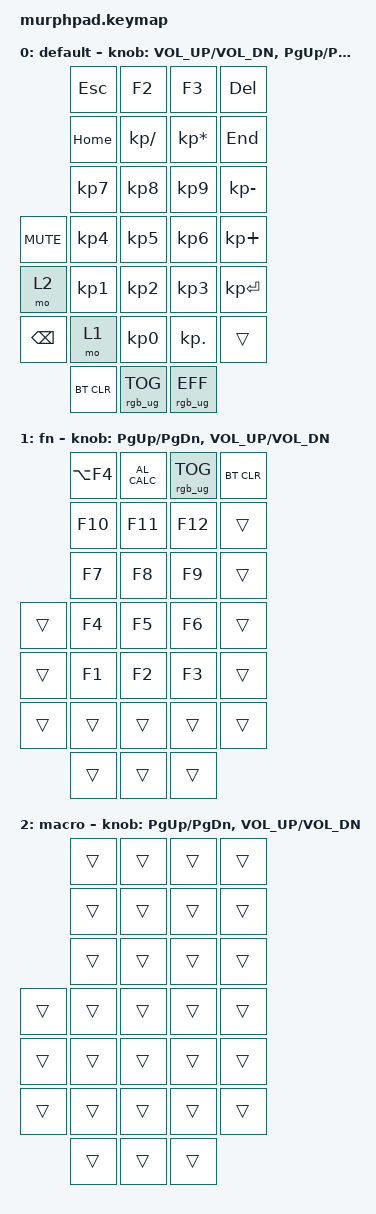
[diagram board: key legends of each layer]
/*
 * Copyright (c) 2021 The ZMK Contributors
 *
 * SPDX-License-Identifier: MIT
 */

#include <behaviors.dtsi>
#include <dt-bindings/zmk/keys.h>
#include <dt-bindings/zmk/bt.h>
#include <dt-bindings/zmk/outputs.h>
#include <dt-bindings/zmk/rgb.h>

#define TIMEOUT 300

&middle_left_encoder {
    status = "okay";
};

&top_right_encoder {
    status = "okay";
};

/ {
    combos {
        compatible = "zmk,combos";
        combo_btclr {
            timeout-ms = <TIMEOUT>;
            key-positions = <0 4>;
            bindings = <&bt BT_CLR>;
        };
        combo_reset {
            timeout-ms = <TIMEOUT>;
            key-positions = <0 2>;
            bindings = <&sys_reset>;
        };
        combo_bootloader {
            timeout-ms = <TIMEOUT>;
            key-positions = <0 1>;
            bindings = <&bootloader>;
        };
        combo_bt_nxt {
            timeout-ms = <TIMEOUT>;
            key-positions = <0 3>;
            bindings = <&bt BT_NXT>;
        };
    };

    keymap: keymap {
        compatible = "zmk,keymap";

        default_layer {
            display-name = "default";
            bindings = <
                            &kp ESC      &kp F2          &kp F3            &kp DEL
                            &kp HOME     &kp KP_DIVIDE   &kp KP_MULTIPLY   &kp END
                            &kp KP_N7    &kp KP_N8       &kp KP_N9         &kp KP_MINUS
                &kp C_MUTE  &kp KP_N4    &kp KP_N5       &kp KP_N6         &kp KP_PLUS
                &mo 2       &kp KP_N1    &kp KP_N2       &kp KP_N3         &kp KP_ENTER
                &kp BSPC    &mo 1        &kp KP_N0       &kp KP_DOT        &trans

                            &bt BT_CLR   &rgb_ug RGB_TOG &rgb_ug RGB_EFF
            >;
            sensor-bindings = <&inc_dec_kp C_VOL_UP C_VOL_DN &inc_dec_kp PG_UP PG_DN>;

        }; 
        
        fn_layer {
            display-name = "fn";
            bindings = <
                            &kp LA(F4)     &kp C_AL_CALC    &rgb_ug RGB_TOG    &bt BT_CLR
                            &kp F10        &kp F11          &kp F12            &trans     
                            &kp F7         &kp F8           &kp F9             &trans
                &trans      &kp F4         &kp F5           &kp F6             &trans    
                &trans      &kp F1         &kp F2           &kp F3             &trans
                &trans      &trans         &trans           &trans             &trans           

                            &trans           &trans           &trans
            >;
            sensor-bindings = <&inc_dec_kp PG_UP PG_DN &inc_dec_kp C_VOL_UP C_VOL_DN>;
                
        };
        
        macro_layer {
            display-name = "macro";
            bindings = <
                            &trans     &trans        &trans          &trans  
                            &trans     &trans        &trans          &trans     
                            &trans     &trans        &trans          &trans
                &trans      &trans     &trans        &trans          &trans    
                &trans      &trans     &trans        &trans          &trans
                &trans      &trans     &trans        &trans          &trans           

                            &trans           &trans           &trans
            >;  
            sensor-bindings = <&inc_dec_kp PG_UP PG_DN &inc_dec_kp C_VOL_UP C_VOL_DN>;
                
        };
    };
};
